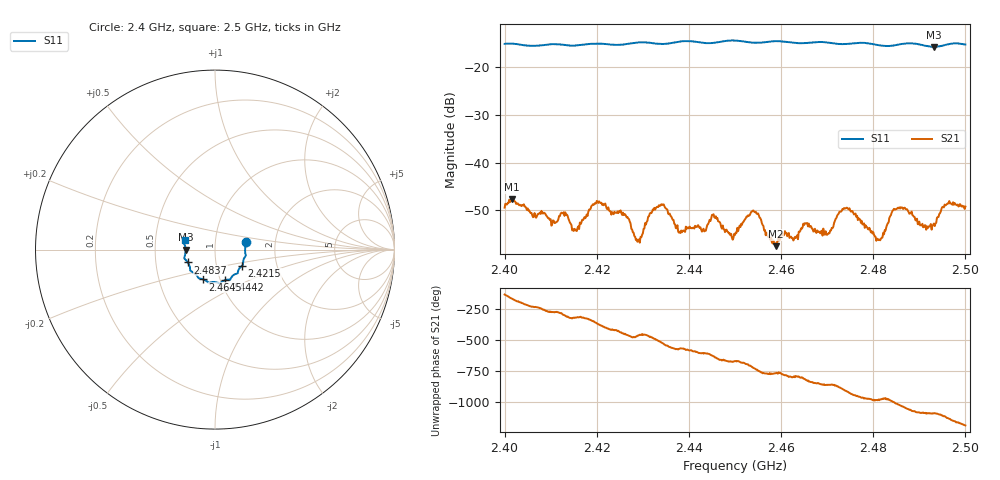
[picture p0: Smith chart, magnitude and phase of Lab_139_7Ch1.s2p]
# Hz S RI R 50
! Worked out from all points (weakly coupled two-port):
!   601 points, 2.4 GHz to 2.5 GHz, reference 50 ohm
!   highest |S21| = -47.68 dB at 2.4015 GHz (marker M1); lowest = -57.5 dB at 2.4588 GHz (marker M2)
!   lowest |S11| = -15.7 dB at 2.4932 GHz (marker M3), VSWR 1.39, Z = 35.9 - j0.052 ohm
!   |S11| at or under -10 dB: start of sweep to end of sweep
!   S12 and S22 are empty: the file has one direction only
!   S11 on the Smith chart (normalised r, x): 2.4 GHz: 1.41, +0.12; 2.4215 GHz: 1.33, -0.25; 2.4442 GHz: 1.05, -0.37; 2.4645 GHz: 0.83, -0.29; 2.4837 GHz: 0.73, -0.11; 2.5 GHz: 0.71, +0.08
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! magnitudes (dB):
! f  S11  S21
! 2.4 GHz  -15.1  -49.4
! 2.4015 GHz  -15.0  -47.7
! 2.4167 GHz  -15.3  -52.5
! 2.4215 GHz  -15.1  -48.9
! 2.4265 GHz  -15.1  -51.5
! 2.4288 GHz  -14.8  -56.6
! 2.4333 GHz  -15.1  -49.3
! 2.4382 GHz  -14.6  -54.7
! 2.4442 GHz  -15.0  -52.9
! 2.45 GHz  -14.4  -55.1
! 2.454 GHz  -14.9  -50.0
! 2.4588 GHz  -14.5  -57.5
! 2.4645 GHz  -15.0  -53.8
! 2.4667 GHz  -14.8  -53.8
! 2.4703 GHz  -14.8  -54.8
! 2.4743 GHz  -15.1  -49.4
! 2.4812 GHz  -15.4  -56.2
! 2.4833 GHz  -15.6  -52.5
! 2.4837 GHz  -15.5  -51.2
! 2.4932 GHz  -15.7  -52.7
! 2.496 GHz  -15.2  -48.6
! 2.5 GHz  -15.3  -49.2
